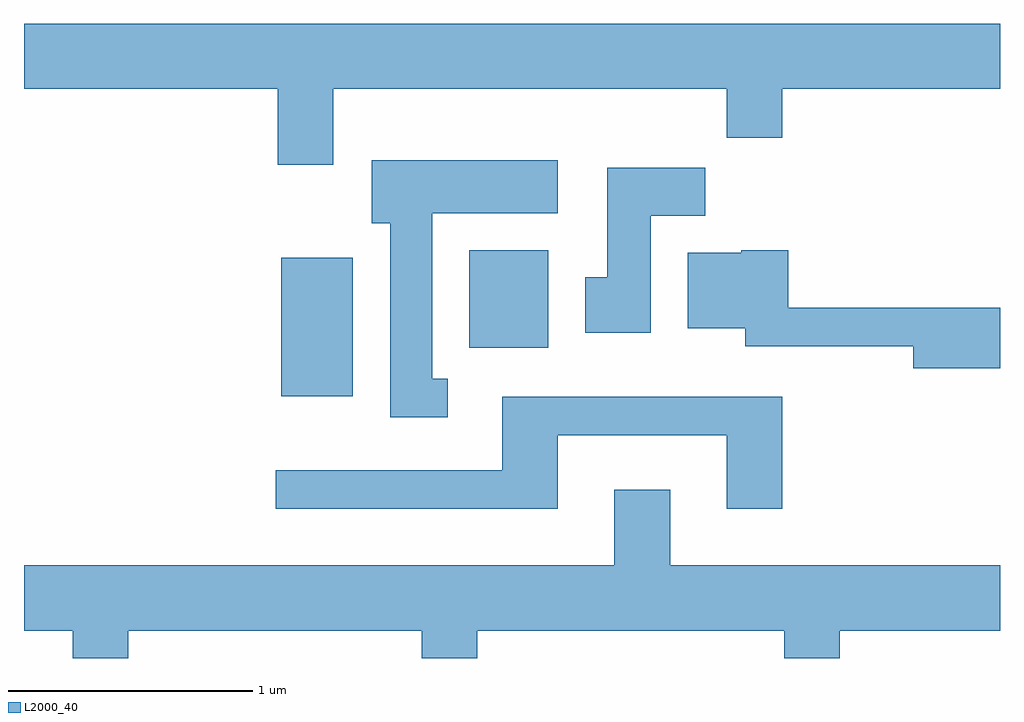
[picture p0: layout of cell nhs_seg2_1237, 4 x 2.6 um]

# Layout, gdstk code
import gdstk
lib = gdstk.Library(unit=1e-6, precision=1e-09)
def R(c, l, rs):  # rectangles x0, y0, x1, y1
    for r in rs: c.add(gdstk.rectangle(r[:2], r[2:], *l))
def P(c, l, *ps):  # polygons
    for p in ps: c.add(gdstk.Polygon(p, *l))
L2000_40 = (2000, 40)

nhs_seg2_1237 = lib.new_cell('nhs_seg2_1237')
R(nhs_seg2_1237, L2000_40, [(222.666,1004.876,222.959,1005.444), (223.436,1005.076,223.759,1005.474)])
P(nhs_seg2_1237, L2000_40, [(222.879,1006.136),(224.491,1006.136),(224.491,1005.936),(224.719,1005.936),(224.719,1006.136),(225.611,1006.136),(225.611,1006.404),(221.611,1006.404),(221.611,1006.136),(222.651,1006.136),(222.651,1005.826),(222.879,1005.826)],
  [(223.348,1004.949),(223.284,1004.949),(223.284,1005.626),(223.799,1005.626),(223.799,1005.844),(223.036,1005.844),(223.036,1005.586),(223.111,1005.586),(223.111,1004.791),(223.348,1004.791)],
  [(224.179,1005.616),(224.404,1005.616),(224.404,1005.814),(224.001,1005.814),(224.001,1005.364),(223.911,1005.364),(223.911,1005.136),(224.179,1005.136)],
  [(225.611,1005.239),(224.744,1005.239),(224.744,1005.474),(224.55,1005.474),(224.55,1005.464),(224.331,1005.464),(224.331,1005.156),(224.566,1005.156),(224.566,1005.081),(225.256,1005.081),(225.256,1004.991),(225.611,1004.991)],
  [(223.799,1004.716),(224.491,1004.716),(224.491,1004.416),(224.719,1004.416),(224.719,1004.874),(223.571,1004.874),(223.571,1004.574),(222.643,1004.574),(222.643,1004.416),(223.799,1004.416)],
  [(222.039,1003.916),(223.241,1003.916),(223.241,1003.802),(223.469,1003.802),(223.469,1003.916),(224.726,1003.916),(224.726,1003.802),(224.954,1003.802),(224.954,1003.916),(225.611,1003.916),(225.611,1004.184),(224.259,1004.184),(224.259,1004.494),(224.031,1004.494),(224.031,1004.184),(221.611,1004.184),(221.611,1003.916),(221.811,1003.916),(221.811,1003.802),(222.039,1003.802)])

lib.write_gds('nhs_seg2_1237.gds')
